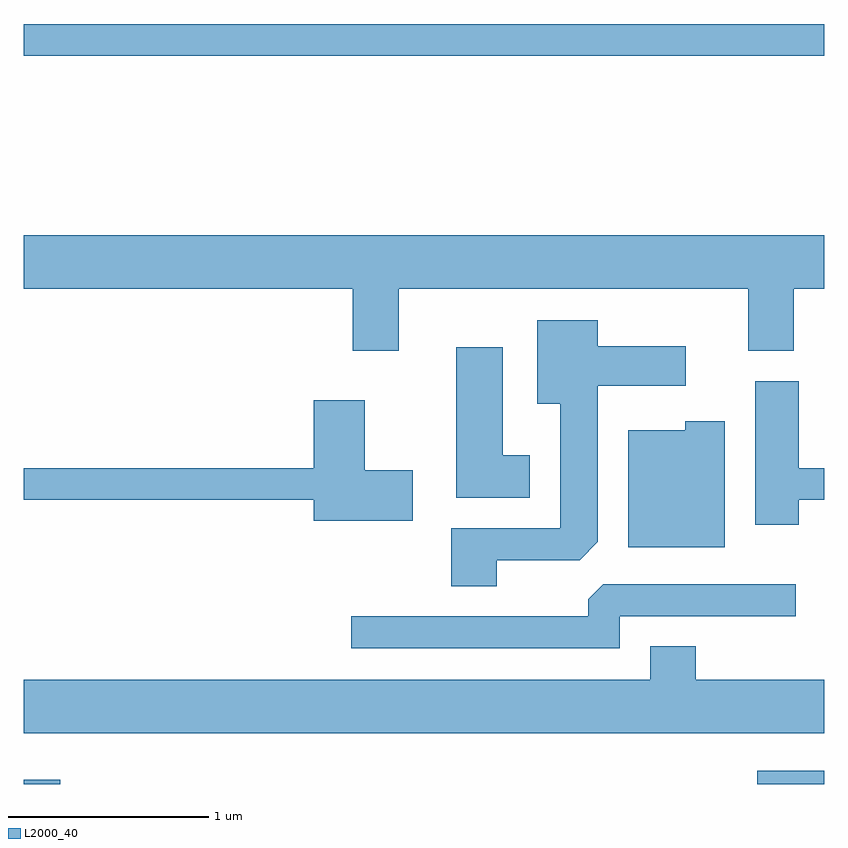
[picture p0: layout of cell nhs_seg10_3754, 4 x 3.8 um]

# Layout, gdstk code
import gdstk
lib = gdstk.Library(unit=1e-6, precision=1e-09)
def R(c, l, rs):  # rectangles x0, y0, x1, y1
    for r in rs: c.add(gdstk.rectangle(r[:2], r[2:], *l))
def P(c, l, *ps):  # polygons
    for p in ps: c.add(gdstk.Polygon(p, *l))
L2000_40 = (2000, 40)

nhs_seg10_3754 = lib.new_cell('nhs_seg10_3754')
R(nhs_seg10_3754, L2000_40, [(295.611,2142.522,295.794,2142.544), (299.276,2142.522,299.611,2142.589), (295.611,2146.161,299.611,2146.319)])
P(nhs_seg10_3754, L2000_40, [(297.484,2144.996),(299.231,2144.996),(299.231,2144.686),(299.459,2144.686),(299.459,2144.996),(299.611,2144.996),(299.611,2145.264),(295.611,2145.264),(295.611,2144.996),(297.256,2144.996),(297.256,2144.686),(297.484,2144.686)],
  [(297.974,2143.641),(298.389,2143.641),(298.479,2143.732),(298.479,2144.511),(298.919,2144.511),(298.919,2144.709),(298.479,2144.709),(298.479,2144.839),(298.176,2144.839),(298.176,2144.421),(298.291,2144.421),(298.291,2143.799),(297.746,2143.799),(297.746,2143.511),(297.974,2143.511)],
  [(298.139,2144.164),(298.004,2144.164),(298.004,2144.704),(297.771,2144.704),(297.771,2143.951),(298.139,2143.951)],
  [(299.484,2143.941),(299.611,2143.941),(299.611,2144.099),(299.484,2144.099),(299.484,2144.534),(299.266,2144.534),(299.266,2143.816),(299.484,2143.816)],
  [(297.554,2144.089),(297.314,2144.089),(297.314,2144.439),(297.061,2144.439),(297.061,2144.099),(295.611,2144.099),(295.611,2143.941),(297.061,2143.941),(297.061,2143.836),(297.554,2143.836)],
  [(299.114,2144.334),(298.916,2144.334),(298.916,2144.289),(298.631,2144.289),(298.631,2143.706),(299.114,2143.706)],
  [(298.589,2143.361),(299.468,2143.361),(299.468,2143.519),(298.507,2143.519),(298.431,2143.444),(298.431,2143.359),(297.248,2143.359),(297.248,2143.201),(298.589,2143.201)],
  [(299.611,2143.044),(298.969,2143.044),(298.969,2143.209),(298.741,2143.209),(298.741,2143.044),(295.611,2143.044),(295.611,2142.776),(299.611,2142.776)])

lib.write_gds('nhs_seg10_3754.gds')
